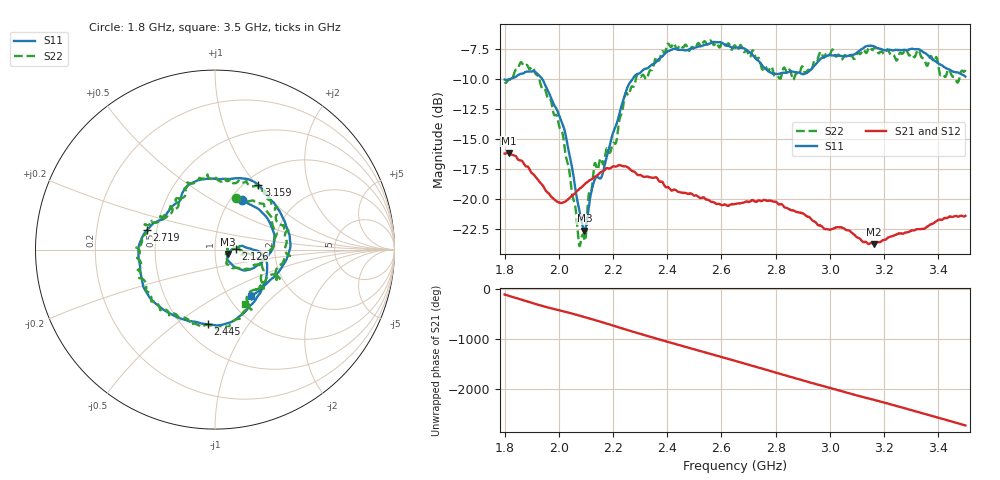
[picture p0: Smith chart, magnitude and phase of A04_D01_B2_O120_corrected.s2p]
! Created with skrf 1.9.0 (http://scikit-rf.org).
# Hz S RI R 50.0
!freq ReS11 ImS11 ReS21 ImS21 ReS12 ImS12 ReS22 ImS22
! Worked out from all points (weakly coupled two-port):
!   1601 points, 1.8 GHz to 3.5 GHz, reference 50 ohm
!   highest |S21| = -16.14 dB at 1.816 GHz (marker M1); lowest = -23.7 dB at 3.163 GHz (marker M2)
!   lowest |S11| = -22.6 dB at 2.094 GHz (marker M3), VSWR 1.16, Z = 57.5 - j2.77 ohm
!   |S11| at or under -10 dB: start of sweep to 1.82 GHz; 1.939 GHz to 2.272 GHz (332.8 MHz wide, 15.8 % of centre)
!   |S22| runs from -23.9 to -6.8 dB; largest |S21 - S12| = 0.0031
!   S11 on the Smith chart (normalised r, x): 1.8 GHz: 1.13, +0.69; 2.126 GHz: 1.26, +0.01; 2.445 GHz: 0.66, -0.66; 2.719 GHz: 0.44, +0.11; 3.159 GHz: 1.15, +1.02; 3.5 GHz: 1.26, -0.72
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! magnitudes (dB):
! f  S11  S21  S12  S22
! 1.8 GHz  -10.0  -16.2  -16.2  -10.2
! 1.816 GHz  -10.0  -16.1  -16.2  -10.0
! 1.902 GHz  -9.4  -17.8  -17.8  -9.0
! 1.968 GHz  -11.4  -19.6  -19.7  -11.7
! 2.022 GHz  -14.3  -20.2  -20.2  -15.8
! 2.084 GHz  -21.8  -19.0  -19.0  -23.2
! 2.094 GHz  -22.6  -18.8  -18.8  -23.3
! 2.126 GHz  -18.8  -18.3  -18.3  -18.1
! 2.159 GHz  -18.1  -17.7  -17.6  -16.8
! 2.208 GHz  -14.0  -17.3  -17.3  -15.4
! 2.259 GHz  -10.4  -17.4  -17.4  -11.2
! 2.367 GHz  -8.4  -18.4  -18.4  -8.5
! 2.445 GHz  -7.6  -19.4  -19.4  -7.2
! 2.65 GHz  -7.4  -20.4  -20.4  -7.2
! 2.719 GHz  -8.1  -20.1  -20.0  -7.7
! 2.81 GHz  -9.6  -20.4  -20.3  -9.8
! 2.934 GHz  -9.1  -21.7  -21.7  -9.2
! 3.159 GHz  -7.2  -23.7  -23.6  -7.5
! 3.163 GHz  -7.3  -23.7  -23.7  -7.4
! 3.217 GHz  -7.6  -23.1  -23.1  -7.7
! 3.468 GHz  -9.4  -21.4  -21.4  -10.2
! 3.5 GHz  -9.8  -21.4  -21.4  -9.2
